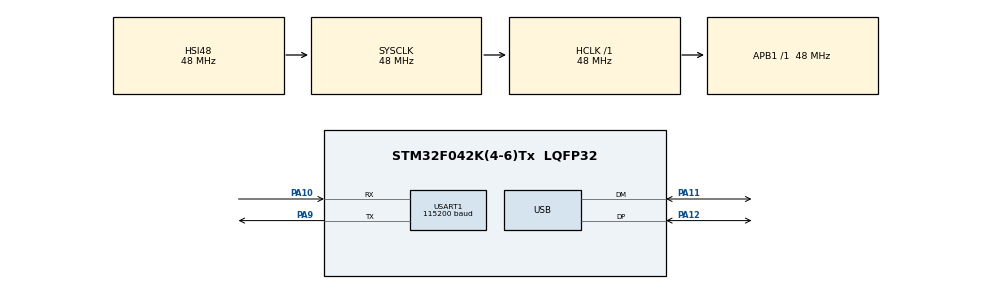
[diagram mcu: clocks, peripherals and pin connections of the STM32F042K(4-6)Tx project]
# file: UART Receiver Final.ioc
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Dma.Request0=USART1_RX
Dma.Request1=USART1_TX
Dma.USART1_RX.0.Direction=DMA_PERIPH_TO_MEMORY
Dma.USART1_RX.0.Instance=DMA1_Channel3
Dma.USART1_RX.0.MemDataAlignment=DMA_MDATAALIGN_BYTE
Dma.USART1_RX.0.MemInc=DMA_MINC_ENABLE
Dma.USART1_RX.0.Mode=DMA_NORMAL
Dma.USART1_RX.0.PeriphDataAlignment=DMA_PDATAALIGN_BYTE
Dma.USART1_RX.0.PeriphInc=DMA_PINC_DISABLE
Dma.USART1_RX.0.Priority=DMA_PRIORITY_LOW
Dma.USART1_TX.1.Direction=DMA_MEMORY_TO_PERIPH
Dma.USART1_TX.1.Instance=DMA1_Channel2
Dma.USART1_TX.1.MemDataAlignment=DMA_MDATAALIGN_BYTE
Dma.USART1_TX.1.MemInc=DMA_MINC_ENABLE
Dma.USART1_TX.1.Mode=DMA_NORMAL
Dma.USART1_TX.1.PeriphDataAlignment=DMA_PDATAALIGN_BYTE
Dma.USART1_TX.1.PeriphInc=DMA_PINC_DISABLE
Dma.USART1_TX.1.Priority=DMA_PRIORITY_LOW
Mcu.Family=STM32F0
Mcu.Name=STM32F042K(4-6)Tx
Mcu.Package=LQFP32
NVIC.DMA1_Channel2_3_IRQn=true\:0\:0\:false\:false\:true\:false\:true\:true
NVIC.TIM3_IRQn=true\:0\:0\:false\:false\:true\:true\:true\:true
NVIC.USART1_IRQn=true\:0\:0\:false\:false\:true\:true\:true\:true
NVIC.USB_IRQn=true\:0\:0\:false\:false\:true\:false\:true\:true
PA10.Mode=Asynchronous
PA10.Signal=USART1_RX
PA11.Mode=Device
PA11.Signal=USB_DM
PA12.Mode=Device
PA12.Signal=USB_DP
PA13.GPIO_Label=SWDIO
PA13.Mode=Serial_Wire
PA13.Signal=SYS_SWDIO
PA14.GPIO_Label=SWCLK
PA14.Mode=Serial_Wire
PA14.Signal=SYS_SWCLK
PA15.GPIO_Label=VCP_RX
PA15.Signal=USART2_RX
PA2.GPIO_Label=VCP_TX
PA2.Signal=USART2_TX
PA9.Mode=Asynchronous
PA9.Signal=USART1_TX
PF0-OSC_IN.GPIO_Label=MCO
PF0-OSC_IN.Mode=HSE-External-Clock-Source
PF0-OSC_IN.Signal=RCC_OSC_IN
ProjectManager.HeapSize=0x200
ProjectManager.StackSize=0x400
ProjectManager.TargetToolchain=STM32CubeIDE
RCC.AHBFreq_Value=48000000
RCC.APB1Freq_Value=48000000
RCC.APB1TimFreq_Value=48000000
RCC.HCLKFreq_Value=48000000
RCC.PLLSourceVirtual=RCC_PLLSOURCE_HSE
RCC.SYSCLKFreq_VALUE=48000000
RCC.SYSCLKSource=RCC_SYSCLKSOURCE_HSI48
RCC.USBFreq_Value=48000000
TIM3.AutoReloadPreload=TIM_AUTORELOAD_PRELOAD_ENABLE
TIM3.Period=3000 - 1
TIM3.Prescaler=48000 - 1
USART1.AutoBaudRateEnableParam=UART_ADVFEATURE_AUTOBAUDRATE_DISABLE
USART1.BaudRate=115200
USART1.Mode=MODE_TX_RX
USART1.VirtualMode-Asynchronous=VM_ASYNC
USB_DEVICE.APP_RX_DATA_SIZE=128
USB_DEVICE.APP_TX_DATA_SIZE=128
USB_DEVICE.CLASS_NAME_FS=CDC
USB_DEVICE.USBD_MAX_STR_DESC_SIZ=128
USB_DEVICE.VirtualMode=Cdc
USB_DEVICE.VirtualModeFS=Cdc_FS
VP_TIM3_VS_ClockSourceINT.Mode=Internal
VP_USB_DEVICE_VS_USB_DEVICE_CDC_FS.Mode=CDC_FS
board=NUCLEO-F042K6

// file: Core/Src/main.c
/* USER CODE BEGIN Header */
/**
  ******************************************************************************
  * @file           : main.c
  * @brief          : Main program body
  ******************************************************************************
  * @attention
  *
  * Copyright (c) 2024 STMicroelectronics.
  * All rights reserved.
  *
  * This software is licensed under terms that can be found in the LICENSE file
  * in the root directory of this software component.
  * If no LICENSE file comes with this software, it is provided AS-IS.
  *
  ******************************************************************************
  */
/* USER CODE END Header */
#include "main.h"
#include "usb_device.h"

/* USER CODE BEGIN Includes */
#include <string.h>
#include <stdio.h>
#include <stdlib.h>
#include "usb_device.h"
#include "usbd_cdc_if.h"
#include "uart_common.h"
#include "uart_receive.h"
/* USER CODE END Includes */

/* USER CODE BEGIN PM */
//#define MAX_PACKET_SIZE 255
//#define FULL_PACKET 4
/* USER CODE END PM */

TIM_HandleTypeDef htim3;

UART_HandleTypeDef huart1;
DMA_HandleTypeDef hdma_usart1_rx;
DMA_HandleTypeDef hdma_usart1_tx;

void SystemClock_Config(void);
static void MX_GPIO_Init(void);
static void MX_DMA_Init(void);
static void MX_USART1_UART_Init(void);
static void MX_TIM3_Init(void);

/* USER CODE BEGIN 0 */

typedef struct {
    uint8_t corrupt_packets[MAX_PACKET_SIZE];
    uint8_t num_corrupt;
    uint8_t curr_pckt;
} internal_state;

uint8_t packets[MAX_PACKET_SIZE][PACKET_SIZE + 1];
uint8_t flag;
uint8_t received;
uint8_t padding;

// Global pointer to structs initialized in main
connection* p_recv_init;
internal_state* p_intl_state;

/* USER CODE END 0 */

int main(void)
{

  /* MCU Configuration--------------------------------------------------------*/

  /* Reset of all peripherals, Initializes the Flash interface and the Systick. */
  HAL_Init();

  /* Configure the system clock */
  SystemClock_Config();

  /* Initialize all configured peripherals */
  MX_GPIO_Init();
  MX_DMA_Init();
  MX_USART1_UART_Init();
  MX_USB_DEVICE_Init();
  MX_TIM3_Init();
  /* USER CODE BEGIN 2 */

  received = 0;

  connection recv_init;
  internal_state intl_state;
  intl_state.curr_pckt = 0;
  intl_state.num_corrupt = 0;

  data test;

  p_recv_init = &recv_init;
  p_intl_state = &intl_state;

//  test.x_coord = 2.22;
//  test.y_coord = 1.23;
//  test.z_coord = 4.45;
//  test.control = 64;
//
//  uint8_t* ptr = &test;
//  rx_buffer[0] = 3;
//  for (int i =1; i <sizeof(rx_buffer); i++){
//	  rx_buffer[i]= *ptr;
//	  ptr++;
//  }
//
//  uint8_t crc = calculate_crc(rx_buffer, sizeof(rx_buffer)-1);

  p_recv_init->handshake = 0;
  memset(packets, 0, sizeof(packets));

  // Should I start a timeout timer here as well?
//  HAL_TIM_Base_Start_IT(&htim3);
  HAL_UART_Receive_DMA(&huart1, (uint8_t *)p_recv_init, 4);
  /* USER CODE END 2 */

  /* Infinite loop */
  /* USER CODE BEGIN WHILE */
  while (1)
  {
	  if (received == 1) {
		  // Extract GPS data from packets
		  int ret;
		  ret = receive_gps_data(packets, p_recv_init, &test);
		  char msg[128];
		  // Transmit message to computer via USB
		  if (ret == 0){ // Transmit data
			  // Can't transmit float due to FLASH size limitations (might work on different board)
//			  sprintf(msg, "COORDS: (%f,%f,%f)\r\nCTRL: %d\r\n\n", test.x_coord, test.y_coord, test.z_coord, test.control);

			  // For now we send raw bytes and computer can decode them as needed.
			  CDC_Transmit_FS((uint8_t*)&test, sizeof(test));
		  } else if (ret == 1){ // Transmit error message and exit program (maybe just reset instead?)
			  sprintf(msg, "TERMINATED: Size of data struct does not match size of received data.\n");
			  CDC_Transmit_FS((uint8_t*)msg, strlen(msg));
			  return 1;
		  }

		  // Cleanup
		  received = 0;
		  memset(packets, 0, sizeof(packets));
		  memset(p_recv_init, 0, sizeof(*p_recv_init));
		  memset(p_intl_state, 0, sizeof(*p_intl_state));
		  // Should I start a timeout timer here as well?
		//  HAL_TIM_Base_Start_IT(&htim3);
		  HAL_UART_Receive_DMA(&huart1, (uint8_t *)p_recv_init, 4);
	  }

    /* USER CODE END WHILE */

  }
}

void SystemClock_Config(void)
{
  RCC_OscInitTypeDef RCC_OscInitStruct = {0};
  RCC_ClkInitTypeDef RCC_ClkInitStruct = {0};
  RCC_PeriphCLKInitTypeDef PeriphClkInit = {0};

  /** Initializes the RCC Oscillators according to the specified parameters
  * in the RCC_OscInitTypeDef structure.
  */
  RCC_OscInitStruct.OscillatorType = RCC_OSCILLATORTYPE_HSI48;
  RCC_OscInitStruct.HSI48State = RCC_HSI48_ON;
  RCC_OscInitStruct.PLL.PLLState = RCC_PLL_NONE;
  if (HAL_RCC_OscConfig(&RCC_OscInitStruct) != HAL_OK)
  {
    Error_Handler();
  }

  /** Initializes the CPU, AHB and APB buses clocks
  */
  RCC_ClkInitStruct.ClockType = RCC_CLOCKTYPE_HCLK|RCC_CLOCKTYPE_SYSCLK
                              |RCC_CLOCKTYPE_PCLK1;
  RCC_ClkInitStruct.SYSCLKSource = RCC_SYSCLKSOURCE_HSI48;
  RCC_ClkInitStruct.AHBCLKDivider = RCC_SYSCLK_DIV1;
  RCC_ClkInitStruct.APB1CLKDivider = RCC_HCLK_DIV1;

  if (HAL_RCC_ClockConfig(&RCC_ClkInitStruct, FLASH_LATENCY_1) != HAL_OK)
  {
    Error_Handler();
  }
  PeriphClkInit.PeriphClockSelection = RCC_PERIPHCLK_USB|RCC_PERIPHCLK_USART1;
  PeriphClkInit.Usart1ClockSelection = RCC_USART1CLKSOURCE_PCLK1;
  PeriphClkInit.UsbClockSelection = RCC_USBCLKSOURCE_HSI48;

  if (HAL_RCCEx_PeriphCLKConfig(&PeriphClkInit) != HAL_OK)
  {
    Error_Handler();
  }
}

static void MX_TIM3_Init(void)
{

  TIM_ClockConfigTypeDef sClockSourceConfig = {0};
  TIM_MasterConfigTypeDef sMasterConfig = {0};

  htim3.Instance = TIM3;
  htim3.Init.Prescaler = 48000 - 1;
  htim3.Init.CounterMode = TIM_COUNTERMODE_UP;
  htim3.Init.Period = 3000 - 1;
  htim3.Init.ClockDivision = TIM_CLOCKDIVISION_DIV1;
  htim3.Init.AutoReloadPreload = TIM_AUTORELOAD_PRELOAD_ENABLE;
  if (HAL_TIM_Base_Init(&htim3) != HAL_OK)
  {
    Error_Handler();
  }
  sClockSourceConfig.ClockSource = TIM_CLOCKSOURCE_INTERNAL;
  if (HAL_TIM_ConfigClockSource(&htim3, &sClockSourceConfig) != HAL_OK)
  {
    Error_Handler();
  }
  sMasterConfig.MasterOutputTrigger = TIM_TRGO_RESET;
  sMasterConfig.MasterSlaveMode = TIM_MASTERSLAVEMODE_DISABLE;
  if (HAL_TIMEx_MasterConfigSynchronization(&htim3, &sMasterConfig) != HAL_OK)
  {
    Error_Handler();
  }

}

static void MX_USART1_UART_Init(void)
{

  huart1.Instance = USART1;
  huart1.Init.BaudRate = 115200;
  huart1.Init.WordLength = UART_WORDLENGTH_8B;
  huart1.Init.StopBits = UART_STOPBITS_1;
  huart1.Init.Parity = UART_PARITY_NONE;
  huart1.Init.Mode = UART_MODE_TX_RX;
  huart1.Init.HwFlowCtl = UART_HWCONTROL_NONE;
  huart1.Init.OverSampling = UART_OVERSAMPLING_16;
  huart1.Init.OneBitSampling = UART_ONE_BIT_SAMPLE_DISABLE;
  huart1.AdvancedInit.AdvFeatureInit = UART_ADVFEATURE_NO_INIT;
  if (HAL_UART_Init(&huart1) != HAL_OK)
  {
    Error_Handler();
  }

}

static void MX_DMA_Init(void)
{

  /* DMA controller clock enable */
  __HAL_RCC_DMA1_CLK_ENABLE();

  /* DMA interrupt init */
  /* DMA1_Channel2_3_IRQn interrupt configuration */
  HAL_NVIC_SetPriority(DMA1_Channel2_3_IRQn, 0, 0);
  HAL_NVIC_EnableIRQ(DMA1_Channel2_3_IRQn);

}

static void MX_GPIO_Init(void)
{
  GPIO_InitTypeDef GPIO_InitStruct = {0};

  /* GPIO Ports Clock Enable */
  __HAL_RCC_GPIOF_CLK_ENABLE();
  __HAL_RCC_GPIOA_CLK_ENABLE();

  /*Configure GPIO pins : VCP_TX_Pin VCP_RX_Pin */
  GPIO_InitStruct.Pin = VCP_TX_Pin|VCP_RX_Pin;
  GPIO_InitStruct.Mode = GPIO_MODE_AF_PP;
  GPIO_InitStruct.Pull = GPIO_NOPULL;
  GPIO_InitStruct.Speed = GPIO_SPEED_FREQ_HIGH;
  GPIO_InitStruct.Alternate = GPIO_AF1_USART2;
  HAL_GPIO_Init(GPIOA, &GPIO_InitStruct);

}

/* USER CODE BEGIN 4 */
void HAL_UART_TxCpltCallback(UART_HandleTypeDef *huart) {

	// Step 2: Either wait for new handshake or receive packet
	if (p_recv_init->handshake == 0) { // If handshake failed, await new handshake
		HAL_UART_Receive_DMA(&huart1, (uint8_t *)p_recv_init, 4);
	} else if (p_recv_init->handshake == 1) { // If the handshake succeeded, receive
		HAL_UART_Receive_DMA(&huart1, &packets[p_intl_state->curr_pckt], p_recv_init->packet_size + 1);
		p_intl_state->curr_pckt++;
	} else if (p_recv_init->handshake == 2) { // If we are expecting resent packets, receive
		p_intl_state->num_corrupt--;
		// Find target index in packets array
		uint8_t* dest = packets[p_intl_state->corrupt_packets[p_intl_state->num_corrupt]];
		HAL_UART_Receive_DMA(&huart1, dest, p_recv_init->packet_size + 1);
	}

	// Start timeout timer
	HAL_TIM_Base_Start_IT(&htim3);
}

void HAL_UART_RxCpltCallback(UART_HandleTypeDef *huart)
{

	// Stop and reset timeout timer
	HAL_TIM_Base_Stop_IT(&htim3);
	__HAL_TIM_SET_COUNTER(&htim3, 0);

	if (p_recv_init->handshake == 0) { // Step 1: Handshake

	  /*
	   * Flag Value : Meaning -> Result
	   *
	   * 0 : Matched CRC (Valid Data) -> Continue Transaction
	   * 1 : Mismatched CRC (Corrupted Data) -> Send retry request to transmitter
	   *
	   * */

	  uint8_t recv_crc = calculate_crc((uint8_t*)p_recv_init, 3);

	  if (recv_crc != p_recv_init->crc) {
		  flag = 1;
	  } else {
		  p_recv_init->handshake = 1;
		  flag = 0;

		  // Calculate and save number of padded bytes
		  p_recv_init->padding = (p_recv_init->packet_size * p_recv_init->num_of_packets) - p_recv_init->total_size;
	  }

	  HAL_UART_Transmit_DMA(&huart1, &flag, 1);

	} else if (p_recv_init->handshake == 1) { // Step 3: Verify Received Data

	  // Check CRC
	  uint8_t recv_crc = calculate_crc(&packets[p_intl_state->curr_pckt - 1], p_recv_init->packet_size);
	  if (recv_crc != packets[p_intl_state->curr_pckt - 1][p_recv_init->packet_size]) {
		 p_intl_state->corrupt_packets[p_intl_state->num_corrupt] = p_intl_state->curr_pckt;
		 p_intl_state->num_corrupt++;
	  }

	  // Check total size
	  if (p_recv_init->total_size < p_recv_init->packet_size) {
		  p_recv_init->total_size = 0;
	  } else {
		  p_recv_init->total_size -= p_recv_init->packet_size;
	  }

	  // Receive only if we are expecting more packets
	  if (p_intl_state->curr_pckt != p_recv_init->num_of_packets) {
		  HAL_UART_Receive_DMA(&huart1, &packets[p_intl_state->curr_pckt], p_recv_init->packet_size + 1);
		  p_intl_state->curr_pckt++;

		  // Start timeout timer
		  HAL_TIM_Base_Start_IT(&htim3);
	  } else {
		  if (p_intl_state->num_corrupt > 0) {
			  p_recv_init->handshake = 2; // Step 4: Ask transmitter to re-send lost packets
			  HAL_UART_Transmit_DMA(&huart1, &p_intl_state->corrupt_packets[p_intl_state->num_corrupt - 1] , 1);
		  }

	  }
	} else if (p_recv_init->handshake == 2) {
	  if (p_intl_state->num_corrupt > 0) {
		  HAL_UART_Transmit_DMA(&huart1, &p_intl_state->corrupt_packets[p_intl_state->num_corrupt - 1] , 1);
	  } else { // Step 5: Done receiving packets, set received flag to do processing in main while loop
		  received = 1;
	  }

	}

//  //HAL_UART_Receive_DMA(&huart1, rx_buffer + 1, sizeof(rx_buffer) - 1);
//  uint8_t transmit_crc = rx_buffer[sizeof(rx_buffer)-1];
//
//  if(calculate_crc(rx_buffer,sizeof(rx_buffer)-1) == transmit_crc ){
//	  struct data out;
//      uint8_t * receive_data = &rx_buffer;
//      uint8_t data_avail = rx_buffer[0];
//      receive_data++;
//      if (data_avail == 1){
//      } else if (data_avail == 2){
//      } else if(data_avail == 3){
//    	// Save buffer data to struct
//        receive_gps_data(&out, receive_data);
//        out.control = *receive_data;
//      }
//
//   }
//
//  memset(rx_buffer, 0, sizeof(rx_buffer)); //!!! Clear buffer (or what should we do if CRCs don't match?)
//  HAL_UART_Receive_DMA(&huart1, rx_buffer, sizeof(rx_buffer));

  return;
}

void HAL_TIM_PeriodElapsedCallback(TIM_HandleTypeDef *htim) {
    if (htim->Instance == TIM3) {  // Timer TIM3 timeout
    	HAL_UART_DMAStop(&huart1);  // Stops any UART DMA (both TX and RX)
    	memset(packets, 0, sizeof(packets));
		memset(p_recv_init, 0, sizeof(*p_recv_init));
		memset(p_intl_state, 0, sizeof(*p_intl_state));
		// Should I start a timeout timer here as well?
	  //  HAL_TIM_Base_Start_IT(&htim3);
		HAL_UART_Receive_DMA(&huart1, (uint8_t *)p_recv_init, 4);
    }
}

/* USER CODE END 4 */

void Error_Handler(void)
{
  __disable_irq();
  while (1)
  {
  }
}
